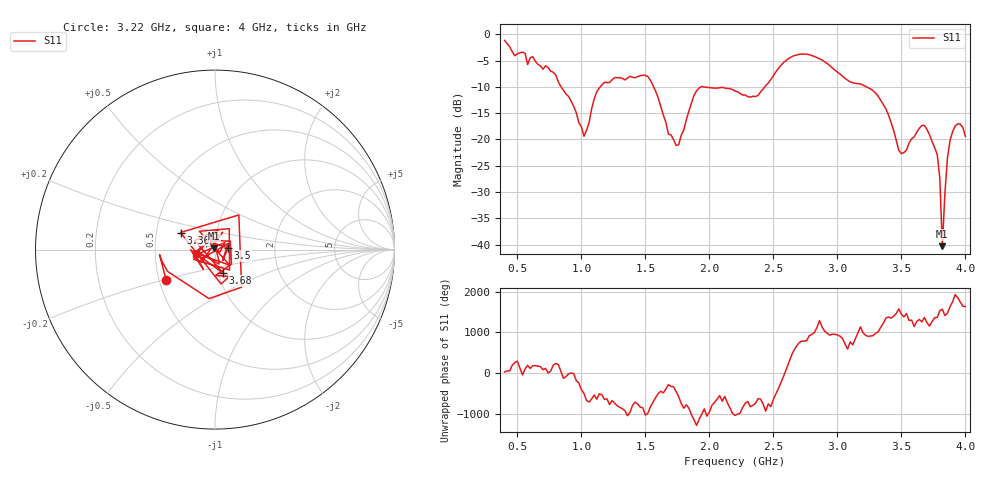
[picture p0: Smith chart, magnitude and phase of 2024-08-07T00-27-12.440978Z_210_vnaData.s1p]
!Created with skrf (http://scikit-rf.org).
# Hz S RI R 50.0
!freq ReS11 ImS11
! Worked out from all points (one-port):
!   181 points, 400 MHz to 4 GHz, reference 50 ohm
!   lowest |S11| = -40.3 dB at 3.82 GHz (marker M1), VSWR 1.02, Z = 49.4 + j0.725 ohm
!   |S11| at or under -10 dB: 1.565 GHz to 1.935 GHz (370.6 MHz wide, 21.2 % of centre); 1.956 GHz to 2.433 GHz (476.4 MHz wide, 21.7 % of centre); 3.228 GHz to end of sweep (the widest 3 of 4)
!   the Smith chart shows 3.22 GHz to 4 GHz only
!   S11 on the Smith chart (normalised r, x): 3.22 GHz: 0.54, -0.20; 3.36 GHz: 0.67, +0.13; 3.5 GHz: 1.16, +0.02; 3.68 GHz: 1.05, -0.28; 4 GHz: 0.81, -0.04
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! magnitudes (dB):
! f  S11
! 400 MHz  -1.2
! 580 MHz  -5.8
! 740 MHz  -6.3
! 860 MHz  -10.7
! 1.02 GHz  -19.4
! 1.12 GHz  -11.0
! 1.3 GHz  -8.3
! 1.52 GHz  -8.1
! 1.68 GHz  -19.0
! 1.76 GHz  -21.0
! 1.92 GHz  -10.2
! 2.2 GHz  -10.8
! 2.38 GHz  -11.6
! 2.66 GHz  -4.1
! 2.86 GHz  -4.6
! 3.1 GHz  -9.1
! 3.22 GHz  -9.9
! 3.36 GHz  -13.4
! 3.5 GHz  -22.7
! 3.56 GHz  -20.7
! 3.68 GHz  -17.3
! 3.78 GHz  -22.9
! 3.8 GHz  -27.3
! 3.82 GHz  -40.3
! 3.86 GHz  -23.5
! 3.88 GHz  -20.2
! 3.94 GHz  -17.0
! 4 GHz  -19.4
